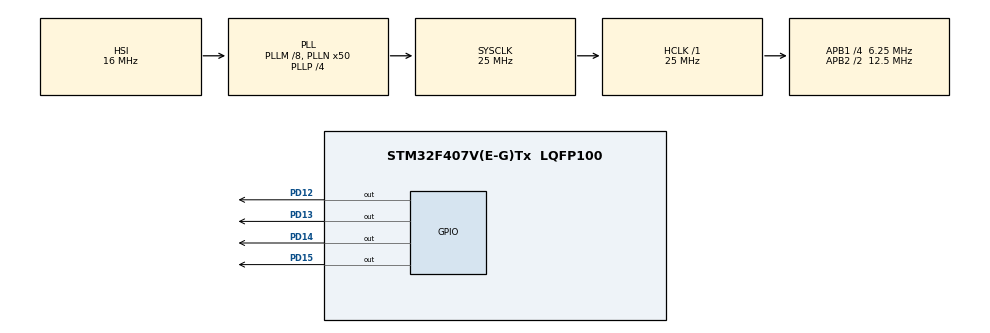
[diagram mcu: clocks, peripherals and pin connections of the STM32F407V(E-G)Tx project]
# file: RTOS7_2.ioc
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FREERTOS.INCLUDE_vTaskDelayUntil=1
FREERTOS.Tasks01=defaultTask,-3,128,StartDefaultTask,Default,NULL,Dynamic,NULL,NULL
FREERTOS.configUSE_NEWLIB_REENTRANT=1
Mcu.Family=STM32F4
Mcu.Name=STM32F407V(E-G)Tx
Mcu.Package=LQFP100
NVIC.PriorityGroup=NVIC_PRIORITYGROUP_4
NVIC.TIM1_UP_TIM10_IRQn=true\:0\:0\:false\:false\:true\:false\:false\:true\:true
NVIC.TimeBase=TIM1_UP_TIM10_IRQn
NVIC.TimeBaseIP=TIM1
PD12.Signal=GPIO_Output
PD13.Signal=GPIO_Output
PD14.Signal=GPIO_Output
PD15.Signal=GPIO_Output
ProjectManager.HeapSize=0x200
ProjectManager.StackSize=0x400
ProjectManager.TargetToolchain=STM32CubeIDE
RCC.48MHZClocksFreq_Value=14285714.285714285
RCC.AHBFreq_Value=25000000
RCC.APB1CLKDivider=RCC_HCLK_DIV4
RCC.APB1Freq_Value=6250000
RCC.APB1TimFreq_Value=12500000
RCC.APB2CLKDivider=RCC_HCLK_DIV2
RCC.APB2Freq_Value=12500000
RCC.APB2TimFreq_Value=25000000
RCC.CortexFreq_Value=25000000
RCC.HCLKFreq_Value=25000000
RCC.HSE_VALUE=8000000
RCC.HSI_VALUE=16000000
RCC.LSE_VALUE=32768
RCC.PLLM=8
RCC.PLLN=50
RCC.PLLP=RCC_PLLP_DIV4
RCC.PLLQ=7
RCC.SYSCLKFreq_VALUE=25000000
RCC.SYSCLKSource=RCC_SYSCLKSOURCE_PLLCLK
RCC.VCOOutputFreq_Value=100000000
VP_FREERTOS_VS_CMSIS_V1.Mode=CMSIS_V1
VP_SYS_VS_tim1.Mode=TIM1
board=STM32F407G-DISC1

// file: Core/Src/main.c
/* USER CODE BEGIN Header */
/**
  ******************************************************************************
  * @file           : main.c
  * @brief          : Main program body
  ******************************************************************************
  * @attention
  *
  * Copyright (c) 2024 STMicroelectronics.
  * All rights reserved.
  *
  * This software is licensed under terms that can be found in the LICENSE file
  * in the root directory of this software component.
  * If no LICENSE file comes with this software, it is provided AS-IS.
  *
  ******************************************************************************
  */
/* USER CODE END Header */
#include "main.h"
#include "cmsis_os.h"

osThreadId defaultTaskHandle;

void SystemClock_Config(void);
static void MX_GPIO_Init(void);
void StartDefaultTask(void const * argument);

/* USER CODE BEGIN 0 */
typedef struct param{
	uint16_t pin ;
	uint32_t rate;
} par_t;

void vTask1(void *pvParam)
{
	par_t *param;

	param = (par_t *)pvParam;
//	uint16_t pin = (uint16_t)pvParam;
	while(1)
	{
		HAL_GPIO_TogglePin(GPIOD , param->pin);
		vTaskDelay(param->rate / portTICK_RATE_MS);
	}
	vTaskDelete(NULL);
}

/* USER CODE END 0 */

int main(void)
{

  /* USER CODE BEGIN 1 */
	BaseType_t xRet;
	par_t param;

  /* USER CODE END 1 */

  /* MCU Configuration--------------------------------------------------------*/

  /* Reset of all peripherals, Initializes the Flash interface and the Systick. */
  HAL_Init();

  /* Configure the system clock */
  SystemClock_Config();

  /* Initialize all configured peripherals */
  MX_GPIO_Init();

  /* Create the thread(s) */
  /* definition and creation of defaultTask */
  osThreadDef(defaultTask, StartDefaultTask, osPriorityIdle, 0, 128);
  defaultTaskHandle = osThreadCreate(osThread(defaultTask), NULL);

  /* USER CODE BEGIN RTOS_THREADS */
  /* add threads, ... */
  param.pin= GPIO_PIN_12;
  param.rate = 1000;
  xRet = xTaskCreate(vTask1 , "LED1" , configMINIMAL_STACK_SIZE , &param , 4 , NULL);
    if(xRet  != pdTRUE)
  	  Error_Handler();
  param.pin= GPIO_PIN_13;
  param.rate = 2000;
  xRet = xTaskCreate(vTask1 , "LED1" , configMINIMAL_STACK_SIZE , &param , 4 , NULL);
	if(xRet  != pdTRUE)
	   Error_Handler();
  param.pin= GPIO_PIN_14;
  param.rate = 3000;
  xRet = xTaskCreate(vTask1 , "LED1" , configMINIMAL_STACK_SIZE , &param , 4 , NULL);
	if(xRet  != pdTRUE)
		Error_Handler();
  param.pin= GPIO_PIN_15;
  param.rate = 4000;
  xRet = xTaskCreate(vTask1 , "LED1" , configMINIMAL_STACK_SIZE , &param , 4 , NULL);
	 if(xRet  != pdTRUE)
		Error_Handler();
	  /* USER CODE END RTOS_THREADS */

	  /* Start scheduler */
	  osKernelStart();

	  /* We should never get here as control is now taken by the scheduler */

  /* Infinite loop */
  while (1)
  {

  }
}

void SystemClock_Config(void)
{
  RCC_OscInitTypeDef RCC_OscInitStruct = {0};
  RCC_ClkInitTypeDef RCC_ClkInitStruct = {0};

  /** Configure the main internal regulator output voltage
  */
  __HAL_RCC_PWR_CLK_ENABLE();
  __HAL_PWR_VOLTAGESCALING_CONFIG(PWR_REGULATOR_VOLTAGE_SCALE1);

  /** Initializes the RCC Oscillators according to the specified parameters
  * in the RCC_OscInitTypeDef structure.
  */
  RCC_OscInitStruct.OscillatorType = RCC_OSCILLATORTYPE_HSI;
  RCC_OscInitStruct.HSIState = RCC_HSI_ON;
  RCC_OscInitStruct.HSICalibrationValue = RCC_HSICALIBRATION_DEFAULT;
  RCC_OscInitStruct.PLL.PLLState = RCC_PLL_ON;
  RCC_OscInitStruct.PLL.PLLSource = RCC_PLLSOURCE_HSI;
  RCC_OscInitStruct.PLL.PLLM = 8;
  RCC_OscInitStruct.PLL.PLLN = 50;
  RCC_OscInitStruct.PLL.PLLP = RCC_PLLP_DIV4;
  RCC_OscInitStruct.PLL.PLLQ = 7;
  if (HAL_RCC_OscConfig(&RCC_OscInitStruct) != HAL_OK)
  {
    Error_Handler();
  }

  /** Initializes the CPU, AHB and APB buses clocks
  */
  RCC_ClkInitStruct.ClockType = RCC_CLOCKTYPE_HCLK|RCC_CLOCKTYPE_SYSCLK
                              |RCC_CLOCKTYPE_PCLK1|RCC_CLOCKTYPE_PCLK2;
  RCC_ClkInitStruct.SYSCLKSource = RCC_SYSCLKSOURCE_PLLCLK;
  RCC_ClkInitStruct.AHBCLKDivider = RCC_SYSCLK_DIV1;
  RCC_ClkInitStruct.APB1CLKDivider = RCC_HCLK_DIV4;
  RCC_ClkInitStruct.APB2CLKDivider = RCC_HCLK_DIV2;

  if (HAL_RCC_ClockConfig(&RCC_ClkInitStruct, FLASH_LATENCY_0) != HAL_OK)
  {
    Error_Handler();
  }
}

static void MX_GPIO_Init(void)
{
  GPIO_InitTypeDef GPIO_InitStruct = {0};

  /* GPIO Ports Clock Enable */
  __HAL_RCC_GPIOD_CLK_ENABLE();

  /*Configure GPIO pin Output Level */
  HAL_GPIO_WritePin(GPIOD, GPIO_PIN_12|GPIO_PIN_13|GPIO_PIN_14|GPIO_PIN_15, GPIO_PIN_RESET);

  /*Configure GPIO pins : PD12 PD13 PD14 PD15 */
  GPIO_InitStruct.Pin = GPIO_PIN_12|GPIO_PIN_13|GPIO_PIN_14|GPIO_PIN_15;
  GPIO_InitStruct.Mode = GPIO_MODE_OUTPUT_PP;
  GPIO_InitStruct.Pull = GPIO_NOPULL;
  GPIO_InitStruct.Speed = GPIO_SPEED_FREQ_LOW;
  HAL_GPIO_Init(GPIOD, &GPIO_InitStruct);

}

void StartDefaultTask(void const * argument)
{
  for(;;)
  {
    osDelay(1);
  }
}

void HAL_TIM_PeriodElapsedCallback(TIM_HandleTypeDef *htim)
{
  if (htim->Instance == TIM1) {
    HAL_IncTick();
  }
}

void Error_Handler(void)
{
  __disable_irq();
  while (1)
  {
  }
}
